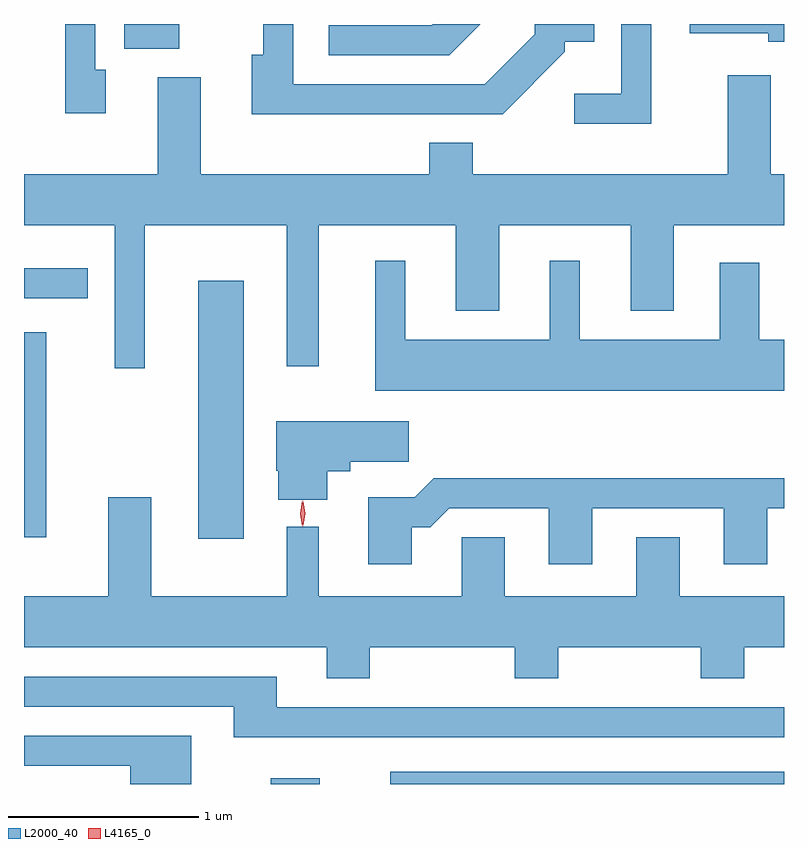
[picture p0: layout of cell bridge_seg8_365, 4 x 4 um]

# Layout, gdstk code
import gdstk
lib = gdstk.Library(unit=1e-6, precision=1e-09)
def R(c, l, rs):  # rectangles x0, y0, x1, y1
    for r in rs: c.add(gdstk.rectangle(r[:2], r[2:], *l))
def P(c, l, *ps):  # polygons
    for p in ps: c.add(gdstk.Polygon(p, *l))
L2000_40 = (2000, 40)
L4165_0 = (4165, 0)

bridge_seg8_365 = lib.new_cell('bridge_seg8_365')
R(bridge_seg8_365, L2000_40, [(726.236,1933.375,726.494,1933.404), (726.866,1933.375,728.938,1933.439), (725.856,1934.666,726.094,1936.024), (724.938,1934.673,725.054,1935.753), (724.938,1935.931,725.273,1936.089), (725.466,1937.246,725.754,1937.375)])
P(bridge_seg8_365, L2000_40, [(728.239,1937.375),(728.081,1937.375),(728.081,1937.009),(727.833,1937.009),(727.833,1936.851),(728.239,1936.851)],
  [(725.369,1937.134),(725.314,1937.134),(725.314,1937.375),(725.156,1937.375),(725.156,1936.906),(725.369,1936.906)],
  [(727.784,1937.229),(727.784,1937.281),(727.938,1937.281),(727.938,1937.375),(727.626,1937.375),(727.626,1937.322),(727.364,1937.059),(726.354,1937.059),(726.354,1937.375),(726.196,1937.375),(726.196,1937.214),(726.136,1937.214),(726.136,1936.901),(727.457,1936.901)],
  [(727.34,1937.375),(727.09,1937.375),(727.084,1937.369),(726.543,1937.369),(726.543,1937.211),(727.177,1937.211)],
  [(728.938,1937.375),(728.443,1937.375),(728.443,1937.326),(728.856,1937.326),(728.856,1937.281),(728.938,1937.281)],
  [(726.321,1935.573),(726.489,1935.573),(726.489,1936.316),(727.211,1936.316),(727.211,1935.866),(727.439,1935.866),(727.439,1936.316),(728.131,1936.316),(728.131,1935.866),(728.359,1935.866),(728.359,1936.316),(728.938,1936.316),(728.938,1936.584),(728.869,1936.584),(728.869,1937.104),(728.641,1937.104),(728.641,1936.584),(727.299,1936.584),(727.299,1936.749),(727.071,1936.749),(727.071,1936.584),(725.869,1936.584),(725.869,1937.094),(725.641,1937.094),(725.641,1936.584),(724.938,1936.584),(724.938,1936.316),(725.416,1936.316),(725.416,1935.563),(725.574,1935.563),(725.574,1936.316),(726.321,1936.316)],
  [(728.938,1935.714),(728.809,1935.714),(728.809,1936.119),(728.601,1936.119),(728.601,1935.714),(727.864,1935.714),(727.864,1936.128),(727.706,1936.128),(727.706,1935.714),(726.944,1935.714),(726.944,1936.128),(726.786,1936.128),(726.786,1935.446),(728.938,1935.446)],
  [(726.534,1935.021),(726.654,1935.021),(726.654,1935.071),(726.964,1935.071),(726.964,1935.284),(726.266,1935.284),(726.266,1935.025),(726.276,1935.025),(726.276,1934.871),(726.534,1934.871)],
  [(726.979,1934.726),(727.077,1934.726),(727.177,1934.826),(727.701,1934.826),(727.701,1934.531),(727.929,1934.531),(727.929,1934.826),(728.621,1934.826),(728.621,1934.531),(728.849,1934.531),(728.849,1934.826),(728.938,1934.826),(728.938,1934.984),(727.094,1934.984),(726.994,1934.884),(726.751,1934.884),(726.751,1934.531),(726.979,1934.531)],
  [(726.759,1934.096),(727.521,1934.096),(727.521,1933.931),(727.749,1933.931),(727.749,1934.096),(728.501,1934.096),(728.501,1933.931),(728.729,1933.931),(728.729,1934.096),(728.938,1934.096),(728.938,1934.364),(728.389,1934.364),(728.389,1934.674),(728.161,1934.674),(728.161,1934.364),(727.469,1934.364),(727.469,1934.674),(727.241,1934.674),(727.241,1934.364),(726.489,1934.364),(726.489,1934.728),(726.321,1934.728),(726.321,1934.364),(725.609,1934.364),(725.609,1934.884),(725.381,1934.884),(725.381,1934.364),(724.938,1934.364),(724.938,1934.096),(726.531,1934.096),(726.531,1933.931),(726.759,1933.931)],
  [(728.938,1933.779),(726.269,1933.779),(726.269,1933.939),(724.938,1933.939),(724.938,1933.781),(726.041,1933.781),(726.041,1933.621),(728.938,1933.621)],
  [(725.819,1933.629),(724.938,1933.629),(724.938,1933.471),(725.496,1933.471),(725.496,1933.375),(725.819,1933.375)])
P(bridge_seg8_365, L4165_0, [(726.403,1934.73),(726.402,1934.731),(726.393,1934.798),(726.402,1934.866),(726.403,1934.866),(726.403,1934.866),(726.413,1934.798),(726.403,1934.731)],
  [(726.408,1934.734),(726.408,1934.734),(726.398,1934.798),(726.408,1934.862),(726.408,1934.862),(726.409,1934.862),(726.418,1934.798),(726.409,1934.734)])

lib.write_gds('bridge_seg8_365.gds')
